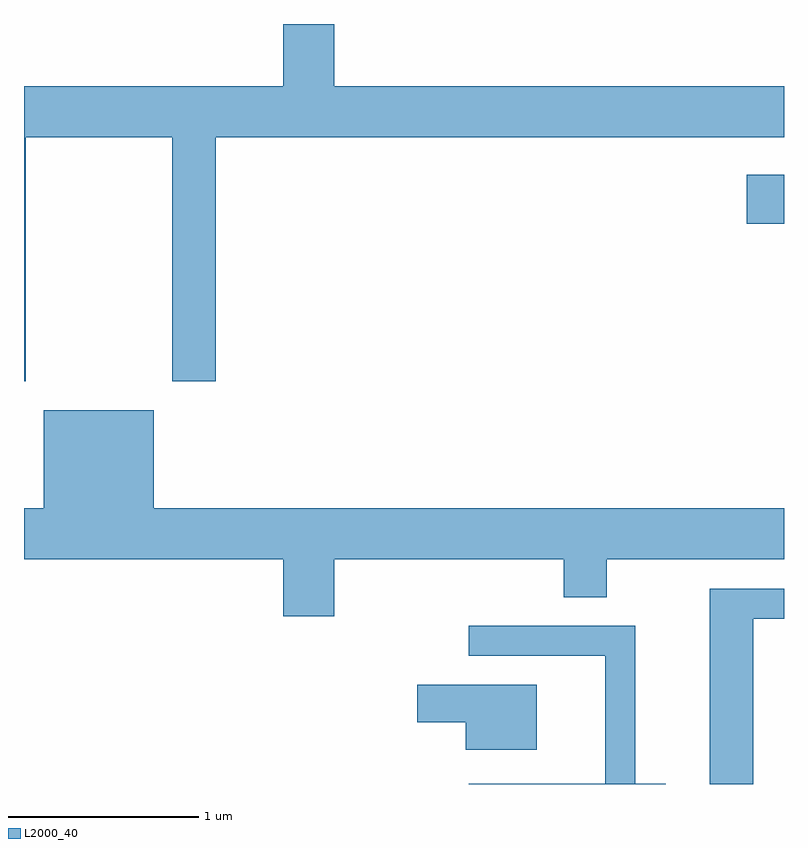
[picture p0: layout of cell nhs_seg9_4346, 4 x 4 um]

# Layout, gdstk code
import gdstk
lib = gdstk.Library(unit=1e-6, precision=1e-09)
def R(c, l, rs):  # rectangles x0, y0, x1, y1
    for r in rs: c.add(gdstk.rectangle(r[:2], r[2:], *l))
def P(c, l, *ps):  # polygons
    for p in ps: c.add(gdstk.Polygon(p, *l))
L2000_40 = (2000, 40)

nhs_seg9_4346 = lib.new_cell('nhs_seg9_4346')
R(nhs_seg9_4346, L2000_40, [(317.416,1971.381,317.611,1971.639)])
P(nhs_seg9_4346, L2000_40, [(313.619,1971.836),(314.391,1971.836),(314.391,1970.551),(314.619,1970.551),(314.619,1971.836),(317.611,1971.836),(317.611,1972.104),(315.244,1972.104),(315.244,1972.432),(314.976,1972.432),(314.976,1972.104),(313.611,1972.104),(313.611,1970.551),(313.619,1970.551)],
  [(314.294,1970.399),(313.716,1970.399),(313.716,1969.884),(313.611,1969.884),(313.611,1969.616),(314.976,1969.616),(314.976,1969.316),(315.244,1969.316),(315.244,1969.616),(316.451,1969.616),(316.451,1969.416),(316.679,1969.416),(316.679,1969.616),(317.611,1969.616),(317.611,1969.884),(314.294,1969.884)],
  [(317.449,1969.301),(317.611,1969.301),(317.611,1969.459),(317.221,1969.459),(317.221,1968.432),(317.449,1968.432)],
  [(316.989,1968.434),(316.829,1968.434),(316.829,1969.264),(315.953,1969.264),(315.953,1969.106),(316.671,1969.106),(316.671,1968.434),(315.953,1968.434),(315.953,1968.432),(316.989,1968.432)],
  [(316.309,1968.954),(315.681,1968.954),(315.681,1968.756),(315.936,1968.756),(315.936,1968.611),(316.309,1968.611)])

lib.write_gds('nhs_seg9_4346.gds')
